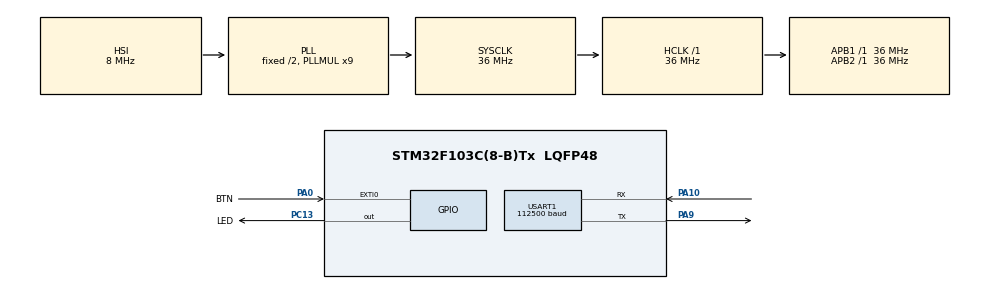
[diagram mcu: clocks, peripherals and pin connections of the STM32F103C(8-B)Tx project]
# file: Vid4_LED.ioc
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Mcu.Family=STM32F1
Mcu.Name=STM32F103C(8-B)Tx
Mcu.Package=LQFP48
NVIC.EXTI0_IRQn=true\:0\:0\:false\:false\:true\:true\:true\:true
NVIC.PriorityGroup=NVIC_PRIORITYGROUP_4
PA0-WKUP.GPIO_Label=BTN
PA0-WKUP.GPIO_PuPd=GPIO_PULLUP
PA0-WKUP.Signal=GPXTI0
PA10.Mode=Asynchronous
PA10.Signal=USART1_RX
PA13.Mode=Serial_Wire
PA13.Signal=SYS_JTMS-SWDIO
PA14.Mode=Serial_Wire
PA14.Signal=SYS_JTCK-SWCLK
PA9.Mode=Asynchronous
PA9.Signal=USART1_TX
PC13-TAMPER-RTC.GPIO_Label=LED
PC13-TAMPER-RTC.GPIO_ModeDefaultOutputPP=GPIO_MODE_OUTPUT_OD
PC13-TAMPER-RTC.GPIO_PuPd=GPIO_NOPULL
PC13-TAMPER-RTC.PinState=GPIO_PIN_SET
PC13-TAMPER-RTC.Signal=GPIO_Output
PD0-OSC_IN.Mode=HSE-External-Oscillator
PD0-OSC_IN.Signal=RCC_OSC_IN
PD1-OSC_OUT.Mode=HSE-External-Oscillator
PD1-OSC_OUT.Signal=RCC_OSC_OUT
ProjectManager.HeapSize=0x200
ProjectManager.StackSize=0x400
ProjectManager.TargetToolchain=STM32CubeIDE
RCC.AHBFreq_Value=36000000
RCC.APB1Freq_Value=36000000
RCC.APB1TimFreq_Value=36000000
RCC.APB2Freq_Value=36000000
RCC.APB2TimFreq_Value=36000000
RCC.HCLKFreq_Value=36000000
RCC.HSEDivPLL=RCC_HSE_PREDIV_DIV2
RCC.PLLMUL=RCC_PLL_MUL9
RCC.SYSCLKFreq_VALUE=36000000
RCC.SYSCLKSource=RCC_SYSCLKSOURCE_PLLCLK
RCC.USBFreq_Value=36000000
USART1.BaudRate=112500
USART1.VirtualMode=VM_ASYNC
board=custom

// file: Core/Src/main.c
/* USER CODE BEGIN Header */
/**
  ******************************************************************************
  * @file           : main.c
  * @brief          : Main program body
  ******************************************************************************
  * @attention
  *
  * Copyright (c) 2026 STMicroelectronics.
  * All rights reserved.
  *
  * This software is licensed under terms that can be found in the LICENSE file
  * in the root directory of this software component.
  * If no LICENSE file comes with this software, it is provided AS-IS.
  *
  ******************************************************************************
  */
/* USER CODE END Header */
#include "main.h"

/* USER CODE BEGIN Includes */
#include "stdio.h"
/* USER CODE END Includes */

UART_HandleTypeDef huart1;

/* USER CODE BEGIN PV */
uint8_t btn_press = 0;
/* USER CODE END PV */

void SystemClock_Config(void);
static void MX_GPIO_Init(void);
static void MX_USART1_UART_Init(void);

/* USER CODE BEGIN 0 */
	int _write(int fd, char* ptr, int len) {
	  HAL_StatusTypeDef hstatus;

	  if (fd == 1 || fd == 2) {
		hstatus = HAL_UART_Transmit(&huart1, (uint8_t *) ptr, len, HAL_MAX_DELAY);
		if (hstatus == HAL_OK)
		  return len;
		else
		  return -1;
	  }
	  return -1;
	}

	void HAL_GPIO_EXTI_Callback(uint16_t GPIO_Pin){
		if(GPIO_Pin == BTN_Pin){
			btn_press = 1;
		}
	}

/* USER CODE END 0 */

int main(void)
{

  /* MCU Configuration--------------------------------------------------------*/

  /* Reset of all peripherals, Initializes the Flash interface and the Systick. */
  HAL_Init();

  /* Configure the system clock */
  SystemClock_Config();

  /* Initialize all configured peripherals */
  MX_GPIO_Init();
  MX_USART1_UART_Init();

  /* Infinite loop */
  /* USER CODE BEGIN WHILE */
  uint32_t now = 0, next_toggle = 500, next_print = 1000, loop_cnt = 0;
  uint16_t blink_delay[] = {2000, 1000, 500, 200, 100, 50, 20, 2};
  uint8_t blink_cnt = 0;
  while (1)
  {
	  now = HAL_GetTick();
	  if(now > next_toggle){
		  HAL_GPIO_TogglePin(LED_GPIO_Port, LED_Pin);
		  //HAL_GPIO_WritePin(LED_GPIO_Port, LED_Pin, SET);
		  next_toggle = now + blink_delay[blink_cnt];
	  }

	  if(now > next_print){
		  printf("printf %lu (loop count = %lu)\r\n", now/1000, loop_cnt);
		  next_print = now + 1000;
		  loop_cnt = 0;
	  }

	  if(btn_press){
		  blink_cnt++;
		  if (blink_cnt >= sizeof(blink_delay) / sizeof(blink_delay[0]))
		  {
		      blink_cnt = 0;
		  }
		  btn_press = 0;
	  }

	  loop_cnt++;
    /* USER CODE END WHILE */

  }
}

void SystemClock_Config(void)
{
  RCC_OscInitTypeDef RCC_OscInitStruct = {0};
  RCC_ClkInitTypeDef RCC_ClkInitStruct = {0};

  /** Initializes the RCC Oscillators according to the specified parameters
  * in the RCC_OscInitTypeDef structure.
  */
  RCC_OscInitStruct.OscillatorType = RCC_OSCILLATORTYPE_HSI;
  RCC_OscInitStruct.HSIState = RCC_HSI_ON;
  RCC_OscInitStruct.HSICalibrationValue = RCC_HSICALIBRATION_DEFAULT;
  RCC_OscInitStruct.PLL.PLLState = RCC_PLL_ON;
  RCC_OscInitStruct.PLL.PLLSource = RCC_PLLSOURCE_HSI_DIV2;
  RCC_OscInitStruct.PLL.PLLMUL = RCC_PLL_MUL9;
  if (HAL_RCC_OscConfig(&RCC_OscInitStruct) != HAL_OK)
  {
    Error_Handler();
  }

  /** Initializes the CPU, AHB and APB buses clocks
  */
  RCC_ClkInitStruct.ClockType = RCC_CLOCKTYPE_HCLK|RCC_CLOCKTYPE_SYSCLK
                              |RCC_CLOCKTYPE_PCLK1|RCC_CLOCKTYPE_PCLK2;
  RCC_ClkInitStruct.SYSCLKSource = RCC_SYSCLKSOURCE_PLLCLK;
  RCC_ClkInitStruct.AHBCLKDivider = RCC_SYSCLK_DIV1;
  RCC_ClkInitStruct.APB1CLKDivider = RCC_HCLK_DIV1;
  RCC_ClkInitStruct.APB2CLKDivider = RCC_HCLK_DIV1;

  if (HAL_RCC_ClockConfig(&RCC_ClkInitStruct, FLASH_LATENCY_1) != HAL_OK)
  {
    Error_Handler();
  }
}

static void MX_USART1_UART_Init(void)
{

  huart1.Instance = USART1;
  huart1.Init.BaudRate = 112500;
  huart1.Init.WordLength = UART_WORDLENGTH_8B;
  huart1.Init.StopBits = UART_STOPBITS_1;
  huart1.Init.Parity = UART_PARITY_NONE;
  huart1.Init.Mode = UART_MODE_TX_RX;
  huart1.Init.HwFlowCtl = UART_HWCONTROL_NONE;
  huart1.Init.OverSampling = UART_OVERSAMPLING_16;
  if (HAL_UART_Init(&huart1) != HAL_OK)
  {
    Error_Handler();
  }

}

static void MX_GPIO_Init(void)
{
  GPIO_InitTypeDef GPIO_InitStruct = {0};

  /* GPIO Ports Clock Enable */
  __HAL_RCC_GPIOC_CLK_ENABLE();
  __HAL_RCC_GPIOD_CLK_ENABLE();
  __HAL_RCC_GPIOA_CLK_ENABLE();

  /*Configure GPIO pin Output Level */
  HAL_GPIO_WritePin(LED_GPIO_Port, LED_Pin, GPIO_PIN_SET);

  /*Configure GPIO pin : LED_Pin */
  GPIO_InitStruct.Pin = LED_Pin;
  GPIO_InitStruct.Mode = GPIO_MODE_OUTPUT_OD;
  GPIO_InitStruct.Pull = GPIO_NOPULL;
  GPIO_InitStruct.Speed = GPIO_SPEED_FREQ_LOW;
  HAL_GPIO_Init(LED_GPIO_Port, &GPIO_InitStruct);

  /*Configure GPIO pin : BTN_Pin */
  GPIO_InitStruct.Pin = BTN_Pin;
  GPIO_InitStruct.Mode = GPIO_MODE_IT_RISING;
  GPIO_InitStruct.Pull = GPIO_PULLUP;
  HAL_GPIO_Init(BTN_GPIO_Port, &GPIO_InitStruct);

  /* EXTI interrupt init*/
  HAL_NVIC_SetPriority(EXTI0_IRQn, 0, 0);
  HAL_NVIC_EnableIRQ(EXTI0_IRQn);

}

void Error_Handler(void)
{
  __disable_irq();
  while (1)
  {
  }
}
